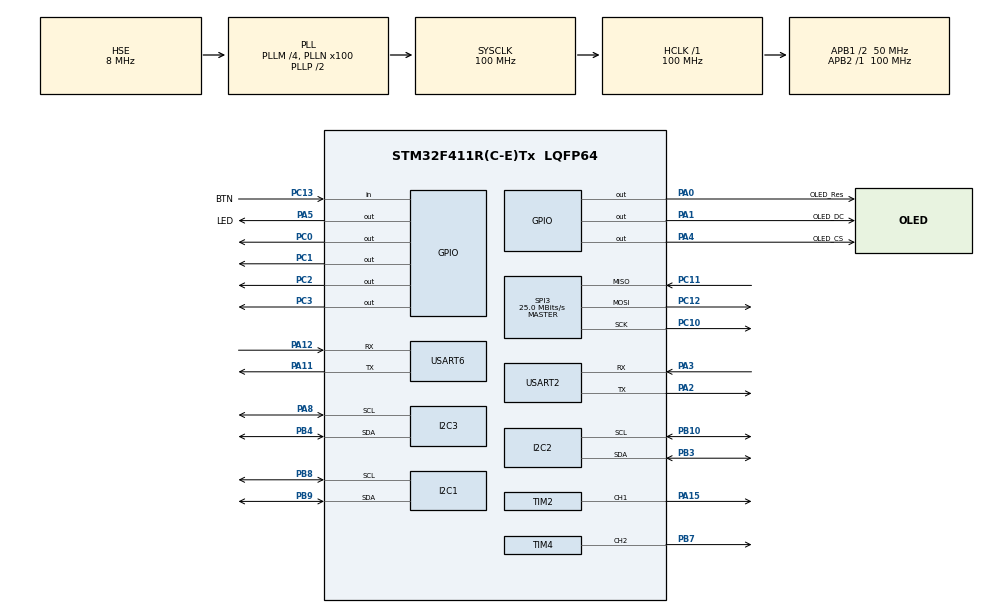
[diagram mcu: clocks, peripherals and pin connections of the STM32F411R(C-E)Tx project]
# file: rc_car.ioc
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Dma.I2C1_RX.0.Direction=DMA_PERIPH_TO_MEMORY
Dma.I2C1_RX.0.FIFOMode=DMA_FIFOMODE_DISABLE
Dma.I2C1_RX.0.Instance=DMA1_Stream0
Dma.I2C1_RX.0.MemDataAlignment=DMA_MDATAALIGN_BYTE
Dma.I2C1_RX.0.MemInc=DMA_MINC_ENABLE
Dma.I2C1_RX.0.Mode=DMA_CIRCULAR
Dma.I2C1_RX.0.PeriphDataAlignment=DMA_PDATAALIGN_BYTE
Dma.I2C1_RX.0.PeriphInc=DMA_PINC_DISABLE
Dma.I2C1_RX.0.Priority=DMA_PRIORITY_LOW
Dma.I2C1_TX.1.Direction=DMA_MEMORY_TO_PERIPH
Dma.I2C1_TX.1.FIFOMode=DMA_FIFOMODE_DISABLE
Dma.I2C1_TX.1.Instance=DMA1_Stream1
Dma.I2C1_TX.1.MemDataAlignment=DMA_MDATAALIGN_BYTE
Dma.I2C1_TX.1.MemInc=DMA_MINC_ENABLE
Dma.I2C1_TX.1.Mode=DMA_CIRCULAR
Dma.I2C1_TX.1.PeriphDataAlignment=DMA_PDATAALIGN_BYTE
Dma.I2C1_TX.1.PeriphInc=DMA_PINC_DISABLE
Dma.I2C1_TX.1.Priority=DMA_PRIORITY_LOW
Dma.I2C2_RX.6.Direction=DMA_PERIPH_TO_MEMORY
Dma.I2C2_RX.6.FIFOMode=DMA_FIFOMODE_DISABLE
Dma.I2C2_RX.6.Instance=DMA1_Stream3
Dma.I2C2_RX.6.MemDataAlignment=DMA_MDATAALIGN_BYTE
Dma.I2C2_RX.6.MemInc=DMA_MINC_ENABLE
Dma.I2C2_RX.6.Mode=DMA_CIRCULAR
Dma.I2C2_RX.6.PeriphDataAlignment=DMA_PDATAALIGN_BYTE
Dma.I2C2_RX.6.PeriphInc=DMA_PINC_DISABLE
Dma.I2C2_RX.6.Priority=DMA_PRIORITY_LOW
Dma.I2C2_TX.7.Direction=DMA_MEMORY_TO_PERIPH
Dma.I2C2_TX.7.FIFOMode=DMA_FIFOMODE_DISABLE
Dma.I2C2_TX.7.Instance=DMA1_Stream7
Dma.I2C2_TX.7.MemDataAlignment=DMA_MDATAALIGN_BYTE
Dma.I2C2_TX.7.MemInc=DMA_MINC_ENABLE
Dma.I2C2_TX.7.Mode=DMA_CIRCULAR
Dma.I2C2_TX.7.PeriphDataAlignment=DMA_PDATAALIGN_BYTE
Dma.I2C2_TX.7.PeriphInc=DMA_PINC_DISABLE
Dma.I2C2_TX.7.Priority=DMA_PRIORITY_LOW
Dma.I2C3_RX.8.Direction=DMA_PERIPH_TO_MEMORY
Dma.I2C3_RX.8.FIFOMode=DMA_FIFOMODE_DISABLE
Dma.I2C3_RX.8.Instance=DMA1_Stream2
Dma.I2C3_RX.8.MemDataAlignment=DMA_MDATAALIGN_BYTE
Dma.I2C3_RX.8.MemInc=DMA_MINC_ENABLE
Dma.I2C3_RX.8.Mode=DMA_CIRCULAR
Dma.I2C3_RX.8.PeriphDataAlignment=DMA_PDATAALIGN_BYTE
Dma.I2C3_RX.8.PeriphInc=DMA_PINC_DISABLE
Dma.I2C3_RX.8.Priority=DMA_PRIORITY_LOW
Dma.I2C3_TX.9.Direction=DMA_MEMORY_TO_PERIPH
Dma.I2C3_TX.9.FIFOMode=DMA_FIFOMODE_DISABLE
Dma.I2C3_TX.9.Instance=DMA1_Stream4
Dma.I2C3_TX.9.MemDataAlignment=DMA_MDATAALIGN_BYTE
Dma.I2C3_TX.9.MemInc=DMA_MINC_ENABLE
Dma.I2C3_TX.9.Mode=DMA_CIRCULAR
Dma.I2C3_TX.9.PeriphDataAlignment=DMA_PDATAALIGN_BYTE
Dma.I2C3_TX.9.PeriphInc=DMA_PINC_DISABLE
Dma.I2C3_TX.9.Priority=DMA_PRIORITY_LOW
Dma.Request0=I2C1_RX
Dma.Request1=I2C1_TX
Dma.Request2=USART6_RX
Dma.Request3=USART6_TX
Dma.Request4=USART2_RX
Dma.Request5=USART2_TX
Dma.Request6=I2C2_RX
Dma.Request7=I2C2_TX
Dma.Request8=I2C3_RX
Dma.Request9=I2C3_TX
Dma.USART2_RX.4.Direction=DMA_PERIPH_TO_MEMORY
Dma.USART2_RX.4.FIFOMode=DMA_FIFOMODE_DISABLE
Dma.USART2_RX.4.Instance=DMA1_Stream5
Dma.USART2_RX.4.MemDataAlignment=DMA_MDATAALIGN_BYTE
Dma.USART2_RX.4.MemInc=DMA_MINC_ENABLE
Dma.USART2_RX.4.Mode=DMA_NORMAL
Dma.USART2_RX.4.PeriphDataAlignment=DMA_PDATAALIGN_BYTE
Dma.USART2_RX.4.PeriphInc=DMA_PINC_DISABLE
Dma.USART2_RX.4.Priority=DMA_PRIORITY_LOW
Dma.USART2_TX.5.Direction=DMA_MEMORY_TO_PERIPH
Dma.USART2_TX.5.FIFOMode=DMA_FIFOMODE_DISABLE
Dma.USART2_TX.5.Instance=DMA1_Stream6
Dma.USART2_TX.5.MemDataAlignment=DMA_MDATAALIGN_BYTE
Dma.USART2_TX.5.MemInc=DMA_MINC_ENABLE
Dma.USART2_TX.5.Mode=DMA_NORMAL
Dma.USART2_TX.5.PeriphDataAlignment=DMA_PDATAALIGN_BYTE
Dma.USART2_TX.5.PeriphInc=DMA_PINC_DISABLE
Dma.USART2_TX.5.Priority=DMA_PRIORITY_LOW
Dma.USART6_RX.2.Direction=DMA_PERIPH_TO_MEMORY
Dma.USART6_RX.2.FIFOMode=DMA_FIFOMODE_DISABLE
Dma.USART6_RX.2.Instance=DMA2_Stream1
Dma.USART6_RX.2.MemDataAlignment=DMA_MDATAALIGN_BYTE
Dma.USART6_RX.2.MemInc=DMA_MINC_ENABLE
Dma.USART6_RX.2.Mode=DMA_NORMAL
Dma.USART6_RX.2.PeriphDataAlignment=DMA_PDATAALIGN_BYTE
Dma.USART6_RX.2.PeriphInc=DMA_PINC_DISABLE
Dma.USART6_RX.2.Priority=DMA_PRIORITY_LOW
Dma.USART6_TX.3.Direction=DMA_MEMORY_TO_PERIPH
Dma.USART6_TX.3.FIFOMode=DMA_FIFOMODE_DISABLE
Dma.USART6_TX.3.Instance=DMA2_Stream6
Dma.USART6_TX.3.MemDataAlignment=DMA_MDATAALIGN_BYTE
Dma.USART6_TX.3.MemInc=DMA_MINC_ENABLE
Dma.USART6_TX.3.Mode=DMA_NORMAL
Dma.USART6_TX.3.PeriphDataAlignment=DMA_PDATAALIGN_BYTE
Dma.USART6_TX.3.PeriphInc=DMA_PINC_DISABLE
Dma.USART6_TX.3.Priority=DMA_PRIORITY_LOW
FREERTOS.Tasks01=defaultTask,24,128,StartDefaultTask,Default,NULL,Dynamic,NULL,NULL
FREERTOS.configUSE_NEWLIB_REENTRANT=1
I2C1.I2C_Mode=I2C_Fast
I2C2.I2C_Mode=I2C_Fast
I2C3.I2C_Mode=I2C_Fast
Mcu.Family=STM32F4
Mcu.Name=STM32F411R(C-E)Tx
Mcu.Package=LQFP64
NVIC.DMA1_Stream0_IRQn=true\:5\:0\:false\:false\:true\:true\:false\:true\:true
NVIC.DMA1_Stream1_IRQn=true\:5\:0\:false\:false\:true\:true\:false\:true\:true
NVIC.DMA1_Stream2_IRQn=true\:5\:0\:false\:false\:true\:true\:false\:true\:true
NVIC.DMA1_Stream3_IRQn=true\:5\:0\:false\:false\:true\:false\:false\:true\:true
NVIC.DMA1_Stream4_IRQn=true\:5\:0\:false\:false\:true\:true\:false\:true\:true
NVIC.DMA1_Stream5_IRQn=true\:5\:0\:false\:false\:true\:true\:false\:true\:true
NVIC.DMA1_Stream6_IRQn=true\:5\:0\:false\:false\:true\:true\:false\:true\:true
NVIC.DMA1_Stream7_IRQn=true\:5\:0\:false\:false\:true\:true\:false\:true\:true
NVIC.DMA2_Stream1_IRQn=true\:5\:0\:false\:false\:true\:true\:false\:true\:true
NVIC.DMA2_Stream6_IRQn=true\:5\:0\:false\:false\:true\:true\:false\:true\:true
NVIC.I2C1_ER_IRQn=true\:5\:0\:false\:false\:true\:true\:true\:true\:true
NVIC.I2C1_EV_IRQn=true\:5\:0\:false\:false\:true\:true\:true\:true\:true
NVIC.I2C2_ER_IRQn=true\:5\:0\:false\:false\:true\:true\:true\:true\:true
NVIC.I2C2_EV_IRQn=true\:5\:0\:false\:false\:true\:true\:true\:true\:true
NVIC.I2C3_ER_IRQn=true\:5\:0\:false\:false\:true\:true\:true\:true\:true
NVIC.I2C3_EV_IRQn=true\:5\:0\:false\:false\:true\:true\:true\:true\:true
NVIC.PriorityGroup=NVIC_PRIORITYGROUP_4
NVIC.TIM1_TRG_COM_TIM11_IRQn=true\:15\:0\:false\:false\:true\:false\:false\:true\:true
NVIC.TIM2_IRQn=true\:5\:0\:false\:false\:true\:true\:true\:true\:true
NVIC.TIM4_IRQn=true\:5\:0\:false\:false\:true\:true\:true\:true\:true
NVIC.TimeBase=TIM1_TRG_COM_TIM11_IRQn
NVIC.TimeBaseIP=TIM11
NVIC.USART2_IRQn=true\:5\:0\:false\:false\:true\:true\:false\:true\:true
NVIC.USART6_IRQn=true\:5\:0\:false\:false\:true\:true\:false\:true\:true
PA0-WKUP.GPIO_Label=OLED_Res
PA0-WKUP.Signal=GPIO_Output
PA1.GPIO_Label=OLED_DC
PA1.Signal=GPIO_Output
PA11.Mode=Asynchronous
PA11.Signal=USART6_TX
PA12.Mode=Asynchronous
PA12.Signal=USART6_RX
PA13.Mode=Serial_Wire
PA13.Signal=SYS_JTMS-SWDIO
PA14.Mode=Serial_Wire
PA14.Signal=SYS_JTCK-SWCLK
PA15.Signal=S_TIM2_CH1_ETR
PA2.Mode=Asynchronous
PA2.Signal=USART2_TX
PA3.Mode=Asynchronous
PA3.Signal=USART2_RX
PA4.GPIO_Label=OLED_CS
PA4.Signal=GPIO_Output
PA5.GPIO_Label=LED
PA5.Signal=GPIO_Output
PA8.Mode=I2C
PA8.Signal=I2C3_SCL
PB10.Mode=I2C
PB10.Signal=I2C2_SCL
PB3.Mode=I2C
PB3.Signal=I2C2_SDA
PB4.Mode=I2C
PB4.Signal=I2C3_SDA
PB7.Signal=S_TIM4_CH2
PB8.Mode=I2C
PB8.Signal=I2C1_SCL
PB9.Mode=I2C
PB9.Signal=I2C1_SDA
PC0.Signal=GPIO_Output
PC1.Signal=GPIO_Output
PC10.Mode=Full_Duplex_Master
PC10.Signal=SPI3_SCK
PC11.Mode=Full_Duplex_Master
PC11.Signal=SPI3_MISO
PC12.Mode=Full_Duplex_Master
PC12.Signal=SPI3_MOSI
PC13-ANTI_TAMP.GPIO_Label=BTN
PC13-ANTI_TAMP.Signal=GPIO_Input
PC2.Signal=GPIO_Output
PC3.Signal=GPIO_Output
PH0\ -\ OSC_IN.Mode=HSE-External-Oscillator
PH0\ -\ OSC_IN.Signal=RCC_OSC_IN
PH1\ -\ OSC_OUT.Mode=HSE-External-Oscillator
PH1\ -\ OSC_OUT.Signal=RCC_OSC_OUT
ProjectManager.HeapSize=0x200
ProjectManager.StackSize=0x400
ProjectManager.TargetToolchain=Makefile
RCC.48MHZClocksFreq_Value=50000000
RCC.AHBFreq_Value=100000000
RCC.APB1CLKDivider=RCC_HCLK_DIV2
RCC.APB1Freq_Value=50000000
RCC.APB1TimFreq_Value=100000000
RCC.APB2Freq_Value=100000000
RCC.APB2TimFreq_Value=100000000
RCC.CortexFreq_Value=100000000
RCC.HCLKFreq_Value=100000000
RCC.HSE_VALUE=8000000
RCC.HSI_VALUE=16000000
RCC.LSE_VALUE=32768
RCC.PLLM=4
RCC.PLLN=100
RCC.PLLSourceVirtual=RCC_PLLSOURCE_HSE
RCC.SYSCLKFreq_VALUE=100000000
RCC.SYSCLKSource=RCC_SYSCLKSOURCE_PLLCLK
RCC.VCOOutputFreq_Value=200000000
SH.S_TIM2_CH1_ETR.0=TIM2_CH1,PWM Generation1 CH1
SH.S_TIM4_CH2.0=TIM4_CH2,PWM Generation2 CH2
SPI3.CalculateBaudRate=25.0 MBits/s
SPI3.Direction=SPI_DIRECTION_2LINES
SPI3.Mode=SPI_MODE_MASTER
SPI3.VirtualType=VM_MASTER
TIM2.Channel-PWM\ Generation1\ CH1=TIM_CHANNEL_1
TIM2.Period=1000-1
TIM2.Prescaler=3000-1
TIM2.Pulse-PWM\ Generation1\ CH1=500
TIM4.Channel-PWM\ Generation2\ CH2=TIM_CHANNEL_2
TIM4.Period=1000-1
TIM4.Prescaler=3000-1
TIM4.Pulse-PWM\ Generation2\ CH2=500
USART2.VirtualMode=VM_ASYNC
USART6.VirtualMode=VM_ASYNC
VP_FREERTOS_VS_CMSIS_V2.Mode=CMSIS_V2
VP_SYS_VS_tim11.Mode=TIM11
VP_TIM2_VS_ClockSourceINT.Mode=Internal
VP_TIM4_VS_ClockSourceINT.Mode=Internal
board=custom

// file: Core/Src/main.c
/* USER CODE BEGIN Header */
/**
  ******************************************************************************
  * @file           : main.c
  * @brief          : Main program body
  ******************************************************************************
  * @attention
  *
  * Copyright (c) 2024 STMicroelectronics.
  * All rights reserved.
  *
  * This software is licensed under terms that can be found in the LICENSE file
  * in the root directory of this software component.
  * If no LICENSE file comes with this software, it is provided AS-IS.
  *
  ******************************************************************************
  */
/* USER CODE END Header */
#include "main.h"
#include "cmsis_os.h"
#include "dma.h"
#include "i2c.h"
#include "spi.h"
#include "tim.h"
#include "usart.h"
#include "gpio.h"

void SystemClock_Config(void);
void MX_FREERTOS_Init(void);

int main(void)
{

  /* MCU Configuration--------------------------------------------------------*/

  /* Reset of all peripherals, Initializes the Flash interface and the Systick. */
  HAL_Init();

  /* Configure the system clock */
  SystemClock_Config();

  /* Initialize all configured peripherals */
  MX_GPIO_Init();
  MX_DMA_Init();
  MX_TIM2_Init();
  MX_TIM4_Init();
  MX_USART2_UART_Init();
  MX_I2C1_Init();
  MX_USART6_UART_Init();
  MX_I2C2_Init();
  MX_I2C3_Init();
  MX_SPI3_Init();

  /* Init scheduler */
  osKernelInitialize();

  /* Call init function for freertos objects (in cmsis_os2.c) */
  MX_FREERTOS_Init();

  /* Start scheduler */
  osKernelStart();

  /* We should never get here as control is now taken by the scheduler */

  /* Infinite loop */
  /* USER CODE BEGIN WHILE */

  while (1)
  {

    // left_wheel_dir(dir);
    // right_wheel_dir(dir);

    // currTick = HAL_GetTick();
    // if (currTick - lastTick_1 > 200 ) {
    //     left_wheel_inc_speed(10);
    //     right_wheel_inc_speed(10);
    //     lastTick_1 = currTick;
    // }

    // if (currTick - lastTick_2 > 1000) {
    //     dir = !dir;
    //     lastTick_2 = currTick;
    // }

    /* USER CODE END WHILE */

  }
}

void SystemClock_Config(void)
{
  RCC_OscInitTypeDef RCC_OscInitStruct = {0};
  RCC_ClkInitTypeDef RCC_ClkInitStruct = {0};

  /** Configure the main internal regulator output voltage
  */
  __HAL_RCC_PWR_CLK_ENABLE();
  __HAL_PWR_VOLTAGESCALING_CONFIG(PWR_REGULATOR_VOLTAGE_SCALE1);

  /** Initializes the RCC Oscillators according to the specified parameters
  * in the RCC_OscInitTypeDef structure.
  */
  RCC_OscInitStruct.OscillatorType = RCC_OSCILLATORTYPE_HSE;
  RCC_OscInitStruct.HSEState = RCC_HSE_ON;
  RCC_OscInitStruct.PLL.PLLState = RCC_PLL_ON;
  RCC_OscInitStruct.PLL.PLLSource = RCC_PLLSOURCE_HSE;
  RCC_OscInitStruct.PLL.PLLM = 4;
  RCC_OscInitStruct.PLL.PLLN = 100;
  RCC_OscInitStruct.PLL.PLLP = RCC_PLLP_DIV2;
  RCC_OscInitStruct.PLL.PLLQ = 4;
  if (HAL_RCC_OscConfig(&RCC_OscInitStruct) != HAL_OK)
  {
    Error_Handler();
  }

  /** Initializes the CPU, AHB and APB buses clocks
  */
  RCC_ClkInitStruct.ClockType = RCC_CLOCKTYPE_HCLK|RCC_CLOCKTYPE_SYSCLK
                              |RCC_CLOCKTYPE_PCLK1|RCC_CLOCKTYPE_PCLK2;
  RCC_ClkInitStruct.SYSCLKSource = RCC_SYSCLKSOURCE_PLLCLK;
  RCC_ClkInitStruct.AHBCLKDivider = RCC_SYSCLK_DIV1;
  RCC_ClkInitStruct.APB1CLKDivider = RCC_HCLK_DIV2;
  RCC_ClkInitStruct.APB2CLKDivider = RCC_HCLK_DIV1;

  if (HAL_RCC_ClockConfig(&RCC_ClkInitStruct, FLASH_LATENCY_3) != HAL_OK)
  {
    Error_Handler();
  }
}

void HAL_TIM_PeriodElapsedCallback(TIM_HandleTypeDef *htim)
{
  if (htim->Instance == TIM11) {
    HAL_IncTick();
  }
}

void Error_Handler(void)
{
  __disable_irq();
  while (1)
  {
  }
}

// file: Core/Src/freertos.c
/* USER CODE BEGIN Header */
/**
  ******************************************************************************
  * File Name          : freertos.c
  * Description        : Code for freertos applications
  ******************************************************************************
  * @attention
  *
  * Copyright (c) 2024 STMicroelectronics.
  * All rights reserved.
  *
  * This software is licensed under terms that can be found in the LICENSE file
  * in the root directory of this software component.
  * If no LICENSE file comes with this software, it is provided AS-IS.
  *
  ******************************************************************************
  */
#include <stdio.h>
#include <string.h>
/* USER CODE END Header */

#include "FreeRTOS.h"
#include "task.h"
#include "main.h"
#include "cmsis_os.h"

/* USER CODE BEGIN Includes */
#include "rc.h"
#include "usart.h"
#include "i2c.h"
#include "ssd1306.h"
#include "ssd1306_tests.h"
#include "ssd1306_fonts.h"
#include "vl53l0x_api.h"
// #include "vl53l0x.h"
/* USER CODE END Includes */

/* USER CODE BEGIN PD */

#define ADC_VAL_LEFT_X	adc_value[0]
#define ADC_VAL_LEFT_Y	adc_value[1]
#define ADC_VAL_RIGHT_Y	adc_value[2]
#define ADC_VAL_RIGHT_X	adc_value[3]
#define BTN_VAL			adc_value[4]

#ifdef __GNUC__
#define PUTCHAR_PROTOTYPE int __io_putchar(int ch)
#else
#define PUTCHAR_PROTOTYPE int fputc(int ch, FILE *f)
#endif

#define RC_IDLE			    0
#define RC_STOP			    1
#define RC_FORWARD		    2
#define RC_FAST_FORWARD	    3
#define RC_BACKWARD			4
#define RC_FAST_BACKWARD	5
#define RC_TURN_LEFT		6
#define RC_FAST_TURN_LEFT	7
#define RC_TURN_RIGHT	    8
#define RC_FAST_TURN_RIGHT	9

/* USER CODE END PD */

/* USER CODE BEGIN Variables */
osThreadId_t thread1_Handle;
const osThreadAttr_t thread1_attr = {
  .name = "thread1",
  .stack_size = 128 * 4,
  .priority = (osPriority_t) 30,
};
osThreadId_t thread2_Handle;
const osThreadAttr_t thread2_attr = {
  .name = "thread2",
  .stack_size = 128 * 4,
  .priority = (osPriority_t) 29,
};
osThreadId_t thread3_Handle;
const osThreadAttr_t thread3_attr = {
  .name = "thread3",
  .stack_size = 128 * 4,
  .priority = (osPriority_t) 28,
};
osThreadId_t thread4_Handle;
const osThreadAttr_t thread4_attr = {
  .name = "thread4",
  .stack_size = 128 * 4,
  .priority = (osPriority_t) 27,
};
osThreadId_t thread5_Handle;
const osThreadAttr_t thread5_attr = {
  .name = "thread5",
  .stack_size = 128 * 4,
  .priority = (osPriority_t) 27,
};
osThreadId_t thread6_Handle;
const osThreadAttr_t thread6_attr = {
  .name = "thread6",
  .stack_size = 128 * 4,
  .priority = (osPriority_t) 29,
};

// global variables
uint8_t state = RC_IDLE;
uint8_t next_state = RC_IDLE;

uint8_t bt_recv_done_flag = 0;
uint8_t auto_pilot_flag = 0;
uint8_t body_control = 1;
uint8_t dir_l = FORWARD;
uint8_t dir_r = FORWARD;
int16_t speed_l		   = 0;
int16_t speed_r		   = 0;
uint8_t bt_rx_data[1];
uint8_t rx_data[1];
uint8_t bt_rx_buffer[50] = {0,};
uint8_t rx_buffer[50] = {0,};
int16_t foward_speed = 0;
int16_t turn_speed = 0;
uint16_t diff_lr = 0;

uint16_t adc_value[5] = {0,};

uint16_t avg_left = 0;
uint16_t avg_front = 0;
uint16_t avg_right = 0;

// VL53L0X variables extern 선언
extern VL53L0X_RangingMeasurementData_t RangingData;
extern VL53L0X_Dev_t  vl53l0x_c;
extern VL53L0X_DEV    Dev;

extern VL53L0X_RangingMeasurementData_t RangingData2;
extern VL53L0X_Dev_t  vl53l0x_c2;
extern VL53L0X_DEV    Dev2;

extern VL53L0X_RangingMeasurementData_t RangingData3;
extern VL53L0X_Dev_t  vl53l0x_c3;
extern VL53L0X_DEV    Dev3;

extern uint16_t distance_arr_left[5];
extern uint16_t distance_arr_front[5];
extern uint16_t distance_arr_right[5];

/* USER CODE END Variables */
/* Definitions for defaultTask */
osThreadId_t defaultTaskHandle;
const osThreadAttr_t defaultTask_attributes = {
  .name = "defaultTask",
  .stack_size = 128 * 4,
  .priority = (osPriority_t) osPriorityNormal,
};

/* USER CODE BEGIN FunctionPrototypes */

void thread1(void *argument);
void thread2(void *argument);
void thread3(void *argument);
void thread4(void *argument);
void thread5(void *argument);
void thread6(void *argument);

PUTCHAR_PROTOTYPE{
    HAL_UART_Transmit(&huart2, (uint8_t *)&ch, 1, 0xFFFF);
    return ch;
}

void HAL_UART_RxCpltCallback(UART_HandleTypeDef *huart){
	static uint8_t bt_rx_cnt = 0;

	if (huart->Instance == USART6) {
		// Bluetooth
		HAL_UART_Receive_IT(&huart6, bt_rx_data, 1);

		if (bt_rx_data[0]=='\n' || bt_rx_data[0]=='\r') {
			bt_rx_buffer[bt_rx_cnt] = '\0';
			HAL_UART_Transmit(&huart6, bt_rx_buffer, bt_rx_cnt, 1000);
			bt_rx_cnt = 0;
			bt_recv_done_flag = 1;
		}
		else {
			bt_rx_buffer[bt_rx_cnt++] = bt_rx_data[0];
		}
	}

	else if (huart->Instance == USART2) {
		// USB
		HAL_UART_Receive_IT(&huart2, (uint8_t *)rx_data, 1);
		HAL_UART_Transmit(&huart2, (uint8_t *)rx_data, 1, 1000);
	}
}

/* USER CODE END FunctionPrototypes */

void StartDefaultTask(void *argument);

void MX_FREERTOS_Init(void); /* (MISRA C 2004 rule 8.1) */

void MX_FREERTOS_Init(void) {
  /* USER CODE BEGIN Init */

	// Initialize the motors
	HAL_TIM_PWM_Start(&htim2, TIM_CHANNEL_1);
  	HAL_TIM_PWM_Start(&htim4, TIM_CHANNEL_2);

	// Initialize the bluetooth and USB DMA
  	// HAL_UART_Receive_DMA(&huart6, (uint8_t *)bt_rx_buffer, 1);
	// HAL_UART_Receive_DMA(&huart2, (uint8_t *)rx_buffer, 1);

	// Initialize the bluetooth and USB Interrupt
	HAL_UART_Receive_IT(&huart6, (uint8_t *)bt_rx_data, 1);
	HAL_UART_Receive_IT(&huart2, (uint8_t *)rx_data, 1);

	printf("RTOS Begin\n");

	wheel_stop();

	ssd1306_Init();
	ssd1306_Fill(Black);
	ssd1306_UpdateScreen();
	ssd1306_SetCursor(10, 20);
	ssd1306_WriteString("Left Front Right", Font_7x10, White);
	ssd1306_UpdateScreen();

	VL53L0X_Init();

	HAL_UART_Transmit(&huart2, (uint8_t *)"VL53L0X Start\n", 12, 50);

  /* USER CODE END Init */

  /* Create the thread(s) */
  /* creation of defaultTask */
  defaultTaskHandle = osThreadNew(StartDefaultTask, NULL, &defaultTask_attributes);

  /* USER CODE BEGIN RTOS_THREADS */
  /* add threads, ... */

  thread1_Handle = osThreadNew(thread1, NULL, &thread1_attr);
  thread2_Handle = osThreadNew(thread2, NULL, &thread2_attr);
  thread3_Handle = osThreadNew(thread3, NULL, &thread3_attr);
  thread4_Handle = osThreadNew(thread4, NULL, &thread4_attr);
  thread5_Handle = osThreadNew(thread5, NULL, &thread5_attr);
  thread6_Handle = osThreadNew(thread6, NULL, &thread6_attr);
  /* USER CODE END RTOS_THREADS */

}

void StartDefaultTask(void *argument)
{
  /* USER CODE BEGIN StartDefaultTask */
  /* Infinite loop */
  	for(;;){
		// Heartbeat
		HAL_GPIO_TogglePin(GPIOA, GPIO_PIN_5);
		osDelay(500);
	}
  /* USER CODE END StartDefaultTask */
}

/* USER CODE BEGIN Application */

// VL53L0X 적외선 센서로 부터 거리 데이터 읽기
void thread1(void *argument){
	// RangingData.RangeMilliMeter 에 거리값 저장
	for(;;){
		VL53L0X_MeasurementStart();
		osDelay(33);
	}
}

// 이동평균 계산
void thread2(void *argument){
	uint16_t sum_left = 60;
	uint16_t sum_front = 60;
	uint16_t sum_right = 60;

	for(;;){
		for (uint8_t i = 0; i < 3; i++) {
			sum_left  += distance_arr_left[i];
			sum_front += distance_arr_front[i];
			sum_right += distance_arr_right[i];
		}

		avg_left  = sum_left  / 3;
		avg_front = sum_front / 3;
		avg_right = sum_right / 3;

		sum_front = 0;
		sum_left  = 0;
		sum_right = 0;

		osDelay(33);
	}
}

void thread3(void *argument){

	for(;;){
		// 자율주행
		if (auto_pilot_flag == 1) {
			// 좌우 차이 20mm 이상일 때 회전
			diff_lr = abs(avg_left - avg_right);

			state = next_state;
			if (avg_front > 900 && avg_left > 90 && avg_right > 90){
				//전방 여유 600, 좌우 70 : 고속 직진
				next_state = RC_FAST_FORWARD;
			}
			else if (diff_lr <= 30){
				next_state = RC_FORWARD;
			}
			else {
				if (avg_front < 90){
					next_state = RC_BACKWARD;
				}
				else if (avg_left < 50) {
					next_state = RC_FAST_TURN_RIGHT;
				}
				else if (avg_left < 100) {
					next_state = RC_TURN_RIGHT;
				}
				else if (avg_right < 50) {
					next_state = RC_FAST_TURN_LEFT;
				}
				else if (avg_right < 100) {
					next_state = RC_TURN_LEFT;
				}
				else next_state = RC_FORWARD;
			}
		}
		osDelay(10);
	}
}

// 거리 데이터 OLED 출력
void thread4(void *argument){
	char tmp[50];
	for(;;){
		ssd1306_SetCursor(30, 0);
		if (auto_pilot_flag == 1) ssd1306_WriteString(" AUTO ", Font_11x18, White);
		else                      ssd1306_WriteString("MANUAL", Font_11x18, White);
		ssd1306_SetCursor(7, 35);
		sprintf(tmp, "%4d  %4d  %4d", avg_left, avg_front, avg_right);
		ssd1306_WriteString(tmp, Font_7x10, White);
		ssd1306_SetCursor(25, 50);
		sprintf(tmp, "%4d  %4d", speed_l, speed_r);
		ssd1306_WriteString(tmp, Font_7x10, White);
		ssd1306_UpdateScreen();
		osDelay(100);
	}
}

// Bluetooth 데이터 수신
void thread5(void *argument){
	char *adc[5];

	for(;;){
		if (bt_recv_done_flag == 1) {
			bt_recv_done_flag = 0; // clear flag

			// ADC DATA Parsing
			for (uint8_t i = 0; i < 4; i++) {
				adc[i] = strtok( (i==0) ? bt_rx_buffer : NULL , ",");
				adc_value[i] = atoi(adc[i]);
				if(adc_value[i] <= 5){
					adc_value[i] = 2048;
				}
			}
			// Button Parsing
			adc[4] = strtok(NULL, ",");
			adc_value[4] = atoi(adc[4]);

			switch (adc_value[4]){
				case 0:
					break;
				case 1:
					auto_pilot_flag = 0;
					break;
				case 2:
					auto_pilot_flag = 1;
					break;
			}
		}
		osDelay(3);
	}
}

void thread6(void *argument){

	for(;;){

		if (auto_pilot_flag == 1){
			/*
			// logic
			switch (state) {
				case RC_IDLE :            speed_l = 0;    speed_r = 0;    break;
				case RC_FORWARD :         speed_l = 500 + avg_right;
										  speed_r = 500 + avg_left;  break;
				case RC_BACKWARD :        if (avg_left>avg_right) {
											speed_l = -avg_left;
										    speed_r = 0;
										  }
										  else {
											speed_l = 0;
											speed_r = -avg_right;
										  }break;
				case RC_FAST_FORWARD :    speed_l = 1000; speed_r = 1000; break;
				case RC_TURN_LEFT :       speed_l = 300 - avg_right;
										  speed_r = 500 - avg_left;  break;
				case RC_FAST_TURN_LEFT :  speed_l = -500;    speed_r = 500; break;
				case RC_TURN_RIGHT :      speed_l = 500 - avg_right;
										  speed_r = 300 - avg_left;  break;
				case RC_FAST_TURN_RIGHT : speed_l = 500; speed_r = -500;    break;
			}
			*/

			if (diff_lr >= 20){
				speed_l = avg_front + avg_right - avg_left;
				speed_r = avg_front + avg_left - avg_right;

				// 좌측 벽이 35mm 이내로 접근한 경우
				if (avg_left < 35){
					speed_l = avg_front + 30 + avg_right/2;
					speed_r = avg_front/2;
				}
				// 우측 벽이 50mm 이내로 접근한 경우
				if (avg_right < 35){
					speed_l = avg_front/2;
					speed_r = avg_front + 30 + avg_left/2;
				}
			}
			// 좌우 차이 20mm 미만일 때 직진
			else{
				if (avg_front > 200) {
					speed_l = 400 + (2 * avg_front ) + avg_right;
					speed_r = 400 + (2 * avg_front ) + avg_left;
					// osDelay(100);
				}
				else {
					speed_l = 100 + avg_front*2/3 + avg_right;
					speed_r = 100 + avg_front*2/3 + avg_left;
				}
			}

			// 전방이 90mm 이하일 때 후진
			// 오른쪽이 좁으면 왼쪽 바퀴를 뒤로 더 돌린다
			if (avg_front < 90) {
				speed_l = -150 - avg_right/2;
				speed_r = -150 - avg_left/2;
			}

			// 휠 방향 전환, 속도 조정
			if (speed_l < 0) {
				dir_l = BACKWARD;
				speed_l = abs(speed_l);
			}
			else {
				dir_l = FORWARD;
				speed_l = speed_l;
			}

			if (speed_r < 0) {
				dir_r = BACKWARD;
				speed_r = abs(speed_r);
			}
			else {
				dir_r = FORWARD;
			}
		}
		// 수동주행
		else {
			foward_speed = (ADC_VAL_LEFT_Y >> 1) - 1024+20 ; // -1000 ~ 1000
			turn_speed   = (ADC_VAL_RIGHT_X >> 1) - 1024+40; // -1000 ~ 1000 오른쪽이 큰값 , offset   음수이면 왼쪽으로 회전

			speed_l = foward_speed + turn_speed ;
			speed_r = foward_speed - turn_speed ;

			if (speed_l < 0) {
				dir_l = BACKWARD;
				speed_l = abs(speed_l);
			}
			else {
				dir_l = FORWARD;
				speed_l = speed_l;
			}

			if (speed_r < 0) {
				dir_r = BACKWARD;
				speed_r = abs(speed_r);
			}
			else {
				dir_r = FORWARD;
			}

			if (speed_l > RC_MAX_SPEED) {
				speed_l = RC_MAX_SPEED;
			}
			if (speed_r > RC_MAX_SPEED) {
				speed_r = RC_MAX_SPEED;
			}

			if (speed_l < RC_MIN_SPEED+100) {
				speed_l = 0;
			}
			if (speed_r < RC_MIN_SPEED+100) {
				speed_r = 0;
			}
		}

		left_wheel_dir(dir_l);
		right_wheel_dir(dir_r);
		left_wheel_set_speed(speed_l);
		right_wheel_set_speed(speed_r);
		osDelay(10);
	}
}
/* USER CODE END Application */
